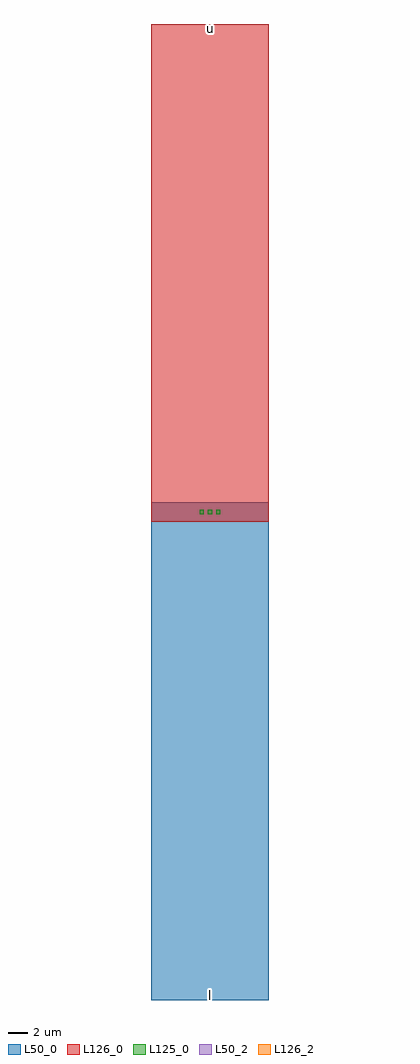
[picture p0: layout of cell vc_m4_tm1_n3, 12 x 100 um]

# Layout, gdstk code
import gdstk
lib = gdstk.Library(unit=1e-6, precision=1e-09)
def R(c, l, rs):  # rectangles x0, y0, x1, y1
    for r in rs: c.add(gdstk.rectangle(r[:2], r[2:], *l))
def A(c, l, x, y, w, h, nx, ny, dx, dy):  # array of equal rectangles
    R(c, l, [(x+i*dx, y+j*dy, x+i*dx+w, y+j*dy+h) for i in range(nx) for j in range(ny)])
L50_0 = (50, 0)
L50_2 = (50, 2)
L125_0 = (125, 0)
L126_0 = (126, 0)
L126_2 = (126, 2)

vc_m4_tm1_n3 = lib.new_cell('vc_m4_tm1_n3')
R(vc_m4_tm1_n3, L50_0, [(0,0,12,51)])
R(vc_m4_tm1_n3, L50_2, [(5.9,0.4,6.1,0.6)])
A(vc_m4_tm1_n3, L125_0, 4.95, 49.79, 0.42, 0.42, 3, 1, 0.84, 0)
R(vc_m4_tm1_n3, L126_0, [(0,49,12,100)])
R(vc_m4_tm1_n3, L126_2, [(5.9,99.4,6.1,99.6)])
vc_m4_tm1_n3.add(gdstk.Label('l', (6,0.5), layer=50, texttype=2))
vc_m4_tm1_n3.add(gdstk.Label('u', (6,99.5), layer=126, texttype=2))

lib.write_gds('vc_m4_tm1_n3.gds')
